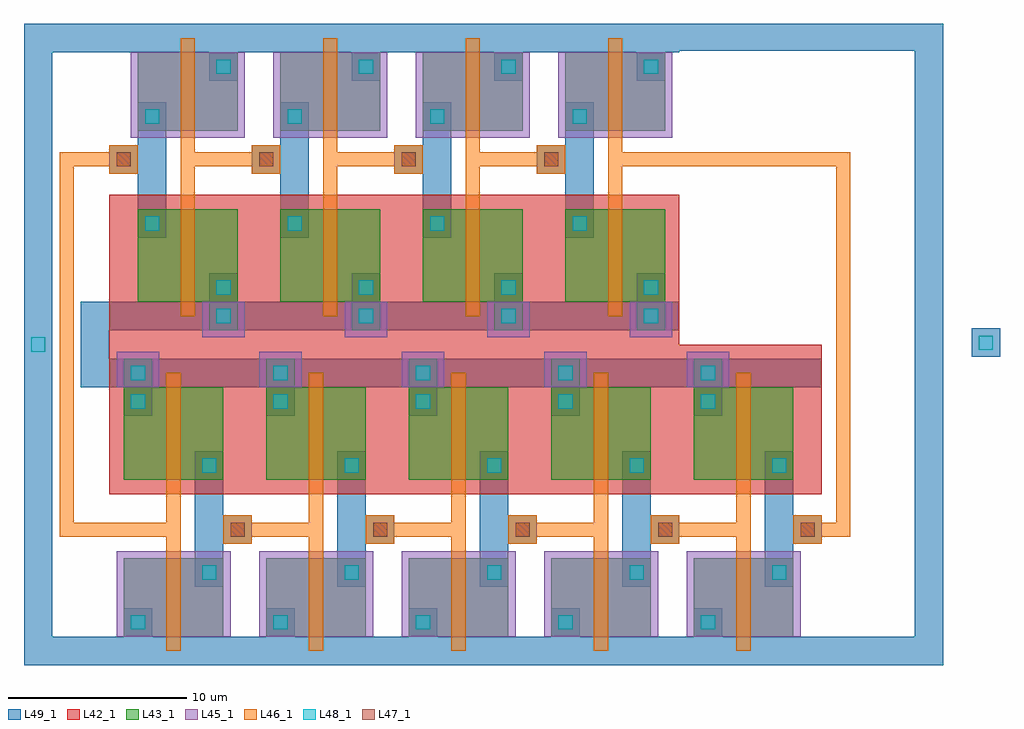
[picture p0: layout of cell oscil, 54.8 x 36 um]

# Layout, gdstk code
from math import pi, radians
import gdstk
lib = gdstk.Library(unit=1e-6, precision=1e-10)
def R(c, l, rs):  # rectangles x0, y0, x1, y1
    for r in rs: c.add(gdstk.rectangle(r[:2], r[2:], *l))
L42_1 = (42, 1)
L43_1 = (43, 1)
L45_1 = (45, 1)
L46_1 = (46, 1)
L47_1 = (47, 1)
L48_1 = (48, 1)
L49_1 = (49, 1)

inv = lib.new_cell('inv')
R(inv, L42_1, [(19.6,6.4,20.4,7.2), (12.8,8.8,20.8,17.2)])
R(inv, L43_1, [(13.6,0.8,19.2,5.2), (13.6,9.6,19.2,14.8), (13.6,14.8,15.2,16.4)])
R(inv, L45_1, [(13.2,0.8,19.6,5.6), (13.2,14.8,15.6,16.8)])
R(inv, L46_1, [(16,0,16.8,6.4), (19.2,6,20.8,7.6), (12.8,6.4,13.6,7.2), (12.8,6.4,13.6,7.2), (12.8,6.4,13.6,7.2), (12.8,6.4,13.6,7.2), (12.8,6.4,13.6,7.2), (12.8,6.4,13.6,7.2), (12.8,6.4,16.8,7.2), (20,6.4,20.8,7.2), (20,6.4,20.8,7.2), (20,6.4,20.8,7.2), (20,6.4,20.8,7.2), (20,6.4,20.8,7.2), (20,6.4,20.8,7.2), (16,7.2,16.8,15.6)])
R(inv, L47_1, [(19.6,6.4,20.4,7.2)])
R(inv, L48_1, [(14,1.2,14.8,2), (18,4,18.8,4.8), (18,10,18.8,10.8), (14,13.6,14.8,14.4), (14,15.2,14.8,16)])
R(inv, L49_1, [(12.8,-0.8,20.8,0.8), (12.8,-0.8,20.8,0.8), (12.8,-0.8,20.8,0.8), (12.8,-0.8,20.8,0.8), (12.8,-0.8,20.8,0.8), (12.8,-0.8,20.8,0.8), (12.8,-0.8,14.4,0.8), (13.6,0.8,15.2,2.4), (17.6,3.6,19.2,3.8), (17.6,3.8,19.2,6), (17.6,6,20.8,7.6), (17.6,7.6,19.2,10.4), (17.6,10.4,19.2,11.2), (13.6,13.2,15.2,14.8), (12.8,14.8,20.8,16.4), (12.8,14.8,20.8,16.4), (12.8,14.8,20.8,16.4), (12.8,14.8,20.8,16.4), (12.8,14.8,20.8,16.4), (12.8,14.8,20.8,16.4), (12.8,14.8,14.4,16.4), (12.8,14.8,20,15.2)])

oscil = lib.new_cell('oscil')
R(oscil, L46_1, [(-2.8,7.2,0,8), (0,7.2,0.8,8), (0,7.2,0.8,8), (0,7.2,0.8,8), (0,7.2,0.8,8), (0,7.2,0.8,8), (7.2,7.2,8,8), (7.2,7.2,8,8), (7.2,7.2,8,8), (7.2,7.2,8,8), (7.2,7.2,8,8), (39.9,7.2,41.6,8), (-2.8,8,-2,28), (40.8,8,41.6,28), (-2.8,28,0,28.8), (32,28,41.6,28.8)])
R(oscil, L48_1, [(-4.4,17.6,-3.6,18.4), (48.8,17.7,49.6,18.5)])
R(oscil, L49_1, [(-4.8,0,0,1.6), (-1.6,0,0,1.6), (40,0,46.8,1.6), (-4.8,1.6,-3.2,34.4), (45.2,1.6,46.8,34.5), (-1.6,15.6,0,17.2), (-1.6,15.6,0,17.2), (-1.6,15.6,0,17.2), (-1.6,15.6,0,17.2), (-1.6,15.6,0,17.2), (-1.6,15.6,0,20.4), (48.4,17.3,50,18.9), (48.4,17.3,50,18.9), (48.4,17.3,50,18.9), (-4.8,34.4,0,36), (32,34.5,46.8,36)])
r = gdstk.Reference(inv, (-12.8,0.8)); r.repetition = gdstk.Repetition(5, 1, v1=(8,0), v2=(0,0)); oscil.add(r)
r = gdstk.Reference(inv, (44.8,35.2), rotation=pi); r.repetition = gdstk.Repetition(4, 1, v1=(-8,0), v2=(0,0)); oscil.add(r)

lib.write_gds('oscil.gds')
